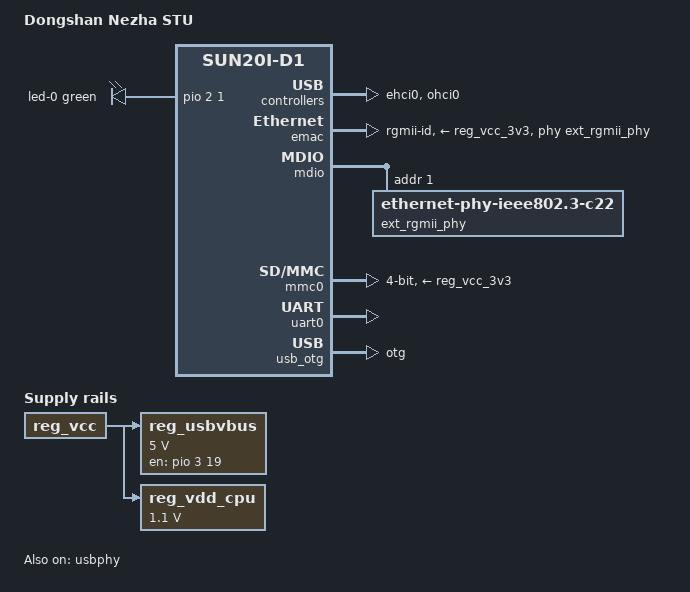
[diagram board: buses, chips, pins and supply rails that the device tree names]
// SPDX-License-Identifier: (GPL-2.0+ OR MIT)
// Copyright (C) 2022 Samuel Holland <samuel@sholland.org>

#include <dt-bindings/gpio/gpio.h>
#include <dt-bindings/leds/common.h>

/dts-v1/;

#include "sun20i-d1.dtsi"
#include "sun20i-common-regulators.dtsi"

/ {
	model = "Dongshan Nezha STU";
	compatible = "100ask,dongshan-nezha-stu", "allwinner,sun20i-d1";

	aliases {
		ethernet0 = &emac;
		serial0 = &uart0;
	};

	chosen {
		stdout-path = "serial0:115200n8";
	};

	leds {
		compatible = "gpio-leds";

		led-0 {
			color = <LED_COLOR_ID_GREEN>;
			function = LED_FUNCTION_STATUS;
			gpios = <&pio 2 1 GPIO_ACTIVE_HIGH>; /* PC1 */
		};
	};

	reg_usbvbus: usbvbus {
		compatible = "regulator-fixed";
		regulator-name = "usbvbus";
		regulator-min-microvolt = <5000000>;
		regulator-max-microvolt = <5000000>;
		gpio = <&pio 3 19 GPIO_ACTIVE_HIGH>; /* PD19 */
		enable-active-high;
		vin-supply = <&reg_vcc>;
	};

	/*
	 * This regulator is PWM-controlled, but the PWM controller is not
	 * yet supported, so fix the regulator to its default voltage.
	 */
	reg_vdd_cpu: vdd-cpu {
		compatible = "regulator-fixed";
		regulator-name = "vdd-cpu";
		regulator-min-microvolt = <1100000>;
		regulator-max-microvolt = <1100000>;
		vin-supply = <&reg_vcc>;
	};
};

&cpu0 {
	cpu-supply = <&reg_vdd_cpu>;
};

&dcxo {
	clock-frequency = <24000000>;
};

&ehci0 {
	status = "okay";
};

&emac {
	pinctrl-0 = <&rgmii_pe_pins>;
	pinctrl-names = "default";
	phy-handle = <&ext_rgmii_phy>;
	phy-mode = "rgmii-id";
	phy-supply = <&reg_vcc_3v3>;
	status = "okay";
};

&mdio {
	ext_rgmii_phy: ethernet-phy@1 {
		compatible = "ethernet-phy-ieee802.3-c22";
		reg = <1>;
	};
};

&mmc0 {
	broken-cd;
	bus-width = <4>;
	disable-wp;
	vmmc-supply = <&reg_vcc_3v3>;
	vqmmc-supply = <&reg_vcc_3v3>;
	pinctrl-0 = <&mmc0_pins>;
	pinctrl-names = "default";
	status = "okay";
};

&ohci0 {
	status = "okay";
};

&uart0 {
	pinctrl-0 = <&uart0_pb8_pins>;
	pinctrl-names = "default";
	status = "okay";
};

&usb_otg {
	dr_mode = "otg";
	status = "okay";
};

&usbphy {
	usb0_id_det-gpios = <&pio 3 21 GPIO_ACTIVE_HIGH>; /* PD21 */
	usb0_vbus_det-gpios = <&pio 3 20 GPIO_ACTIVE_HIGH>; /* PD20 */
	usb0_vbus-supply = <&reg_usbvbus>;
	status = "okay";
};
